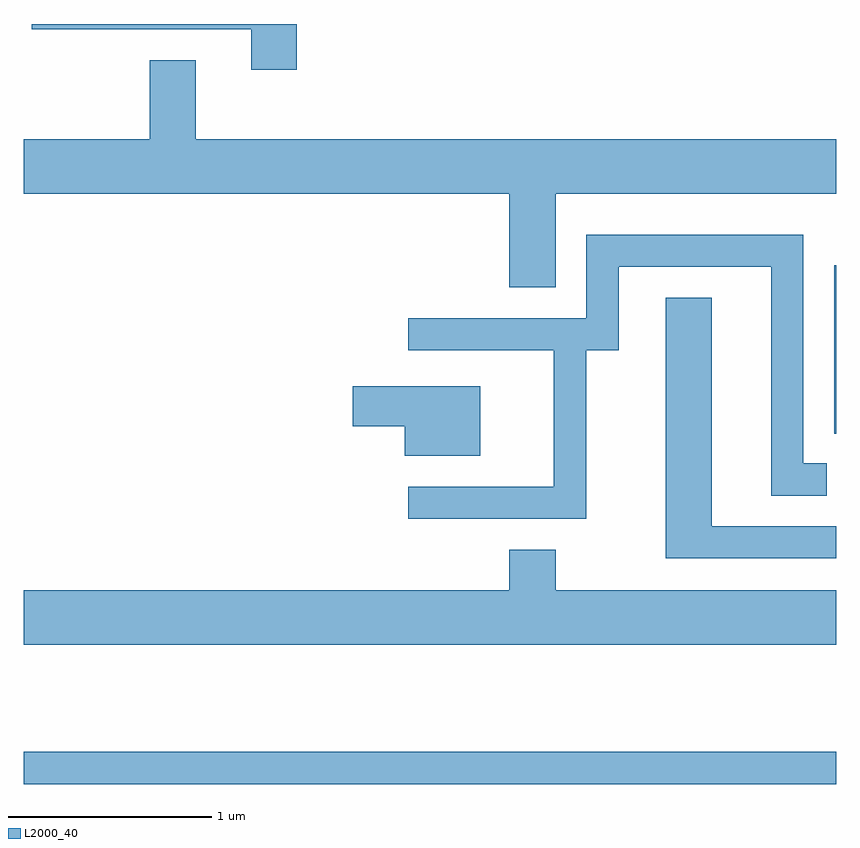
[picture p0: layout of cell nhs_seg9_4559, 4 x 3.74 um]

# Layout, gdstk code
import gdstk
lib = gdstk.Library(unit=1e-6, precision=1e-09)
def R(c, l, rs):  # rectangles x0, y0, x1, y1
    for r in rs: c.add(gdstk.rectangle(r[:2], r[2:], *l))
def P(c, l, *ps):  # polygons
    for p in ps: c.add(gdstk.Polygon(p, *l))
L2000_40 = (2000, 40)

nhs_seg9_4559 = lib.new_cell('nhs_seg9_4559')
R(nhs_seg9_4559, L2000_40, [(319.611,1986.691,323.611,1986.849), (323.601,1988.416,323.611,1989.244)])
P(nhs_seg9_4559, L2000_40, [(320.954,1990.432),(319.651,1990.432),(319.651,1990.406),(320.731,1990.406),(320.731,1990.206),(320.954,1990.206)],
  [(322.229,1989.596),(323.611,1989.596),(323.611,1989.864),(320.459,1989.864),(320.459,1990.254),(320.231,1990.254),(320.231,1989.864),(319.611,1989.864),(319.611,1989.596),(322.001,1989.596),(322.001,1989.136),(322.229,1989.136)],
  [(322.379,1988.826),(322.539,1988.826),(322.539,1989.236),(323.291,1989.236),(323.291,1988.111),(323.563,1988.111),(323.563,1988.269),(323.449,1988.269),(323.449,1989.394),(322.381,1989.394),(322.381,1988.984),(321.503,1988.984),(321.503,1988.826),(322.221,1988.826),(322.221,1988.154),(321.503,1988.154),(321.503,1987.996),(322.379,1987.996)],
  [(323.611,1987.959),(322.999,1987.959),(322.999,1989.084),(322.771,1989.084),(322.771,1987.801),(323.611,1987.801)],
  [(321.859,1988.649),(321.231,1988.649),(321.231,1988.451),(321.486,1988.451),(321.486,1988.306),(321.859,1988.306)],
  [(323.611,1987.644),(322.229,1987.644),(322.229,1987.844),(322.001,1987.844),(322.001,1987.644),(319.611,1987.644),(319.611,1987.376),(323.611,1987.376)])

lib.write_gds('nhs_seg9_4559.gds')
